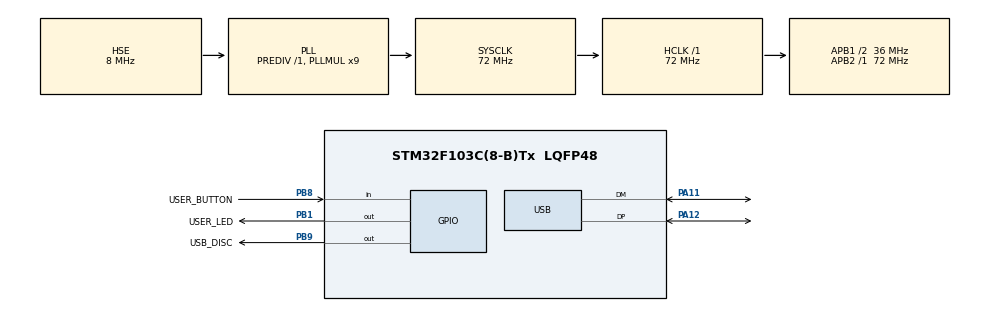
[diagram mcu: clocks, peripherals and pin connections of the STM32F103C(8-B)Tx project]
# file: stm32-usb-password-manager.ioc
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Mcu.Family=STM32F1
RCC.PLLSourceVirtual=RCC_PLLSOURCE_HSE
USB_DEVICE.CLASS_NAME_FS=HID
PD1-OSC_OUT.Mode=HSE-External-Oscillator
PB9.GPIO_Label=USB_DISC
USB_DEVICE.VirtualModeFS=Hid_FS
PB9.GPIO_ModeDefaultOutputPP=GPIO_MODE_OUTPUT_OD
RCC.USBPrescaler=RCC_USBCLKSOURCE_PLL_DIV1_5
PA11.Mode=Device
PD0-OSC_IN.Signal=RCC_OSC_IN
RCC.APB1CLKDivider=RCC_HCLK_DIV2
VP_SYS_VS_ND.Mode=No_Debug
RCC.SYSCLKSource=RCC_SYSCLKSOURCE_PLLCLK
ProjectManager.StackSize=0x400
PD1-OSC_OUT.Signal=RCC_OSC_OUT
USB_DEVICE.MANUFACTURER_STRING=magistr6x9@yandex.ru
PB8.GPIO_Label=USER_BUTTON
PA12.Signal=USB_DP
ProjectManager.TargetToolchain=Makefile
RCC.HCLKFreq_Value=72000000
RCC.APB2TimFreq_Value=72000000
RCC.USBFreq_Value=48000000
RCC.AHBFreq_Value=72000000
PD0-OSC_IN.Mode=HSE-External-Oscillator
board=custom
RCC.PLLMUL=RCC_PLL_MUL9
VP_USB_DEVICE_VS_USB_DEVICE_HID_FS.Mode=HID_FS
RCC.APB2Freq_Value=72000000
VP_TIM2_VS_ClockSourceINT.Mode=Internal
NVIC.USB_LP_CAN1_RX0_IRQn=true\:0\:0\:false\:false\:true\:false\:true
PB1.GPIO_Label=USER_LED
NVIC.TIM2_IRQn=true\:0\:0\:false\:false\:true\:true\:true
TIM2.Period=39
Mcu.Name=STM32F103C(8-B)Tx
RCC.SYSCLKFreq_VALUE=72000000
Mcu.Package=LQFP48
PB9.Signal=GPIO_Output
TIM2.Prescaler=35999
PB1.Signal=GPIO_Output
PA12.Mode=Device
PA11.Signal=USB_DM
ProjectManager.HeapSize=0x200
NVIC.PriorityGroup=NVIC_PRIORITYGROUP_4
RCC.APB1TimFreq_Value=72000000
PB8.Signal=GPIO_Input
RCC.APB1Freq_Value=36000000
USB_DEVICE.VirtualMode=Hid

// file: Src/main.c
/* USER CODE BEGIN Header */
/**
  ******************************************************************************
  * @file           : main.c
  * @brief          : Main program body
  ******************************************************************************
  * @attention
  *
  * <h2><center>&copy; Copyright (c) 2020 STMicroelectronics.
  * All rights reserved.</center></h2>
  *
  * This software component is licensed by ST under Ultimate Liberty license
  * SLA0044, the "License"; You may not use this file except in compliance with
  * the License. You may obtain a copy of the License at:
  *                             www.st.com/SLA0044
  *
  ******************************************************************************
  */
/* USER CODE END Header */
#include "main.h"
#include "usb_device.h"

/* USER CODE BEGIN Includes */
#include "button.h"
#include "eeprom_emu.h"
#include "keyboard_out.h"
#include "keyboard_in.h"
#include "led.h"
#include "password.h"

/* USER CODE END Includes */

TIM_HandleTypeDef htim2;

void SystemClock_Config(void);
static void MX_GPIO_Init(void);
static void MX_TIM2_Init(void);

/* USER CODE BEGIN 0 */

static passwordIndex_t password_index;
static uint8_t genpass_len;

// ***********************************************
// * текстовые сообщения для вывода "на консоль"
// ***********************************************

const uint8_t msg_passwdgen_start[]  = "Generating...";
const uint8_t msg_passwdgen_finish[] = " done.";
const uint8_t msg_passwd_stored[]    = "Stored in EEPROM.";
const uint8_t msg_history_header[]   = "History of passwords:\n";
const uint8_t msg_history_erased[]   = "History erased.";
const uint8_t msg_history_empty[]    = "Password history empty.";

void softReset(void)
{
  pin_code = 0;
  ledBlink(25);

  while (keyCommandState() != KEY_CMD_STATE_PIN)
    USBD_Delay(1);

  /* ожидание пин кода */
  uint16_t keySeq = keyCommandSequence();

  for (int i = 0; i < 8; i++)
  {
    switch (keySeq & 0b11)
    {
    case CAPS_CODE:
      break;                // CAPS интерпретируется как 0
    case NUM_CODE:
    case SCROLL_CODE:
      pin_code |= (1 << i); // NUM & SCROLL интерпретируется как 1
    default:
      break;
    }
    keySeq >>= 2;
  }

  initRandomGenerator();
  keyCommandReset();

  ledBlink(5);
  USBD_Delay(500);
  ledBlink(0);
}

void checkButtonReset(void)
{
#ifdef USER_BUTTON_Pin
  if (button_down > 0)
  {
    if (button_status == BUTTON_STATUS_NONE) // кнопка нажата без необходимости подтверждать операцию
    {
      button_status = BUTTON_STATUS_PRESSED;
      simple_delay_counter = 150; // 3 секунды до сброса PIN кода
    }
    else if (button_status == BUTTON_STATUS_PRESSED && simple_delay_counter == 0)
    {
      softReset();
      button_status = BUTTON_STATUS_NONE;
    }
  }
  else if (button_status == BUTTON_STATUS_PRESSED)
  {
    button_status = BUTTON_STATUS_NONE;
  }
#endif
}

void checkButtonConfirm(void)
{
#ifdef USER_BUTTON_Pin
  if (button_status == BUTTON_STATUS_WAITING_FOR_CONFIRMATION)
  {
    if (simple_delay_counter == 0)
    {
      button_status = BUTTON_STATUS_TIMEOUT; // время ожидания нажатия вышло
    }
    // по мере уменьшения simple_delay_counter мигаем чаще и чаще
    else
    {
      if (simple_delay_counter < 50)
      {
        ledBlink(2);
      }
      else if (simple_delay_counter < 100)
      {
        ledBlink(5);
      }
      else if (simple_delay_counter < 150)
      {
        ledBlink(10);
      }

      if (button_down > 0)
      {
        button_down = 0;
        button_status = BUTTON_STATUS_CONFIRMED;
      }
    }
  }
#endif
}

void buttonConfirm(void _fn(void))
{

#ifdef USER_BUTTON_Pin
  if (button_status == BUTTON_STATUS_NONE) // ... первый вход
  {
    button_status = BUTTON_STATUS_WAITING_FOR_CONFIRMATION;
    simple_delay_counter = 150; // 3 секунды
    button_down = 0;
  }

  if (button_status != BUTTON_STATUS_WAITING_FOR_CONFIRMATION) // ... второй и последующие входы
  {
    if (button_status == BUTTON_STATUS_CONFIRMED)
    {
#endif

      _fn();

#ifdef USER_BUTTON_Pin
    }
    button_status = BUTTON_STATUS_NONE;
#endif

    ledBlink(0);
    keyCommandReset();

#ifdef USER_BUTTON_Pin
  }
#endif
}
void cmdStorePassword(void)
{
  ledBlink(3);
  storePassword(password_index);

  // печатаем сообщение, что новый пароль сохранен в EEPROM
  typeMsg((uint8_t *)msg_passwd_stored);
}

void cmdPrintHistory(void)
{
  ledBlink(5);
  if (stored_password[3][0] != '\0')
  {
    typeMsg((uint8_t *)msg_history_header);
    printPasswordHistory();
  }
  else
  {
    typeMsg((uint8_t *)msg_history_empty);
  }
}

void cmdClearHistory(void)
{
  ledBlink(5);
  clearPasswordHistory();
  typeMsg((uint8_t *)msg_history_erased);
}

/* USER CODE END 0 */

int main(void)
{

  /* MCU Configuration--------------------------------------------------------*/

  /* Reset of all peripherals, Initializes the Flash interface and the Systick. */
  HAL_Init();

  /* Configure the system clock */
  SystemClock_Config();

  /* Initialize all configured peripherals */
  MX_GPIO_Init();
  MX_USB_DEVICE_Init();
  MX_TIM2_Init();

  /* USER CODE BEGIN 2 */

  HAL_TIM_Base_Start(&htim2);
  HAL_TIM_Base_Start_IT(&htim2);

  readPasswordDb();
  waitKbdLedState();
  softReset();

  /* USER CODE END 2 */

  /* Infinite loop */
  while (1)
  {

    /* USER CODE BEGIN 3 */

#ifdef USER_BUTTON_Pin
    debounceButton();
    checkButtonReset();
#endif

    if (keyCommandState() != KEY_CMD_STATE_READY)
      continue;

#ifdef USER_BUTTON_Pin
    checkButtonConfirm();
#endif

    switch (keyCommandSequence())
    {

    /* набор паролей */
    case KEY_COMMAND_TYPEPASS_CAPS:
      password_index = PASSWD_CAPS;
      goto TYPEPASS;
    case KEY_COMMAND_TYPEPASS_NUM:
      password_index = PASSWD_NUM;
      goto TYPEPASS;
    case KEY_COMMAND_TYPEPASS_SCROLL:
      password_index = PASSWD_SCROLL;

    TYPEPASS:
      ledBlink(5);
      printPassword(password_index);
      goto CMD_DONE;

    /* генерация паролей */
    case KEY_COMMAND_GENPASS:
      genpass_len = 8;
      goto GENPASS;
    case KEY_COMMAND_GENPASS_12:
      genpass_len = 12;
      goto GENPASS;
    case KEY_COMMAND_GENPASS_15:
      genpass_len = 15;

    GENPASS:
      ledBlink(3);
      typeMsg((uint8_t *)msg_passwdgen_start);
      generatePassword(genpass_len);
      typeMsg((uint8_t *)msg_passwdgen_finish);
      goto CMD_DONE;

    case KEY_COMMAND_TYPENEWPASS:
      ledBlink(5);
      printNewPassword();
      goto CMD_DONE;

    /* сохранение паролей во флеш-памяти */
    case KEY_COMMAND_STORPASS_CAPS:
      password_index = PASSWD_CAPS;
      goto STORPASS;
    case KEY_COMMAND_STORPASS_NUM:
      password_index = PASSWD_NUM;
      goto STORPASS;
    case KEY_COMMAND_STORPASS_SCROLL:
      password_index = PASSWD_SCROLL;

    STORPASS:
      buttonConfirm(cmdStorePassword);
      break;

    /* печать истории сохранённых паролей */
    case KEY_COMMAND_PRINT_HISTORY:
      buttonConfirm(cmdPrintHistory);
      break;

    /* очистка истории сохранённых паролей */
    case KEY_COMMAND_CLEAR_HISTORY:
      buttonConfirm(cmdClearHistory);
      break;

    CMD_DONE:
    default:
      ledBlink(0);
      keyCommandReset();
      break;
    }

    USBD_Delay(5);
  }

  /* USER CODE END 3 */
}

void SystemClock_Config(void)
{
  RCC_OscInitTypeDef RCC_OscInitStruct = {0};
  RCC_ClkInitTypeDef RCC_ClkInitStruct = {0};
  RCC_PeriphCLKInitTypeDef PeriphClkInit = {0};

  /** Initializes the RCC Oscillators according to the specified parameters
  * in the RCC_OscInitTypeDef structure.
  */
  RCC_OscInitStruct.OscillatorType = RCC_OSCILLATORTYPE_HSE;
  RCC_OscInitStruct.HSEState = RCC_HSE_ON;
  RCC_OscInitStruct.HSEPredivValue = RCC_HSE_PREDIV_DIV1;
  RCC_OscInitStruct.HSIState = RCC_HSI_ON;
  RCC_OscInitStruct.PLL.PLLState = RCC_PLL_ON;
  RCC_OscInitStruct.PLL.PLLSource = RCC_PLLSOURCE_HSE;
  RCC_OscInitStruct.PLL.PLLMUL = RCC_PLL_MUL9;
  if (HAL_RCC_OscConfig(&RCC_OscInitStruct) != HAL_OK)
  {
    Error_Handler();
  }
  /** Initializes the CPU, AHB and APB buses clocks
  */
  RCC_ClkInitStruct.ClockType = RCC_CLOCKTYPE_HCLK | RCC_CLOCKTYPE_SYSCLK | RCC_CLOCKTYPE_PCLK1 | RCC_CLOCKTYPE_PCLK2;
  RCC_ClkInitStruct.SYSCLKSource = RCC_SYSCLKSOURCE_PLLCLK;
  RCC_ClkInitStruct.AHBCLKDivider = RCC_SYSCLK_DIV1;
  RCC_ClkInitStruct.APB1CLKDivider = RCC_HCLK_DIV2;
  RCC_ClkInitStruct.APB2CLKDivider = RCC_HCLK_DIV1;

  if (HAL_RCC_ClockConfig(&RCC_ClkInitStruct, FLASH_LATENCY_2) != HAL_OK)
  {
    Error_Handler();
  }
  PeriphClkInit.PeriphClockSelection = RCC_PERIPHCLK_USB;
  PeriphClkInit.UsbClockSelection = RCC_USBCLKSOURCE_PLL_DIV1_5;
  if (HAL_RCCEx_PeriphCLKConfig(&PeriphClkInit) != HAL_OK)
  {
    Error_Handler();
  }
}

static void MX_TIM2_Init(void)
{

  TIM_ClockConfigTypeDef sClockSourceConfig = {0};
  TIM_MasterConfigTypeDef sMasterConfig = {0};

  htim2.Instance = TIM2;
  htim2.Init.Prescaler = 35999;
  htim2.Init.CounterMode = TIM_COUNTERMODE_UP;
  htim2.Init.Period = 39;
  htim2.Init.ClockDivision = TIM_CLOCKDIVISION_DIV1;
  htim2.Init.AutoReloadPreload = TIM_AUTORELOAD_PRELOAD_DISABLE;
  if (HAL_TIM_Base_Init(&htim2) != HAL_OK)
  {
    Error_Handler();
  }
  sClockSourceConfig.ClockSource = TIM_CLOCKSOURCE_INTERNAL;
  if (HAL_TIM_ConfigClockSource(&htim2, &sClockSourceConfig) != HAL_OK)
  {
    Error_Handler();
  }
  sMasterConfig.MasterOutputTrigger = TIM_TRGO_RESET;
  sMasterConfig.MasterSlaveMode = TIM_MASTERSLAVEMODE_DISABLE;
  if (HAL_TIMEx_MasterConfigSynchronization(&htim2, &sMasterConfig) != HAL_OK)
  {
    Error_Handler();
  }
}

static void MX_GPIO_Init(void)
{
  GPIO_InitTypeDef GPIO_InitStruct = {0};

  /* GPIO Ports Clock Enable */
  __HAL_RCC_GPIOC_CLK_ENABLE();
  __HAL_RCC_GPIOD_CLK_ENABLE();
  __HAL_RCC_GPIOB_CLK_ENABLE();
  __HAL_RCC_GPIOA_CLK_ENABLE();

  /*Configure GPIO pin Output Level */
  HAL_GPIO_WritePin(USER_LED_GPIO_Port, USER_LED_Pin, USER_LED_PIN_Off);

  /*Configure GPIO pin : USER_LED_Pin */
  GPIO_InitStruct.Pin = USER_LED_Pin;
  GPIO_InitStruct.Mode = GPIO_MODE_OUTPUT_PP;
  GPIO_InitStruct.Pull = GPIO_NOPULL;
  GPIO_InitStruct.Speed = GPIO_SPEED_FREQ_LOW;
  HAL_GPIO_Init(USER_LED_GPIO_Port, &GPIO_InitStruct);

#ifdef USER_BUTTON_Pin
  /*Configure GPIO pin : USER_BUTTON_Pin */
  GPIO_InitStruct.Pin = USER_BUTTON_Pin;
  GPIO_InitStruct.Mode = GPIO_MODE_INPUT;
  GPIO_InitStruct.Pull = USER_BUTTON_GPIO_Pull;
  HAL_GPIO_Init(USER_BUTTON_GPIO_Port, &GPIO_InitStruct);
#endif

#ifdef USB_DISC_Pin
  /*Configure GPIO pin Output Level */
  HAL_GPIO_WritePin(USB_DISC_GPIO_Port, USB_DISC_Pin, GPIO_PIN_RESET);

  /*Configure GPIO pin : USB_DISC_Pin */
  GPIO_InitStruct.Pin = USB_DISC_Pin;
  GPIO_InitStruct.Mode = GPIO_MODE_OUTPUT_OD;
  GPIO_InitStruct.Pull = GPIO_NOPULL;
  GPIO_InitStruct.Speed = GPIO_SPEED_FREQ_LOW;
  HAL_GPIO_Init(USB_DISC_GPIO_Port, &GPIO_InitStruct);
#endif
}

void HAL_TIM_PeriodElapsedCallback(TIM_HandleTypeDef *htim)
{
  if (htim->Instance == TIM2)
  {
    simpleDelayCounterTask();
    keyCommandTimerTask();
    ledBlinkTask();
  }
}

void Error_Handler(void)
{
}

/************************ (C) COPYRIGHT STMicroelectronics *****END OF FILE****/
